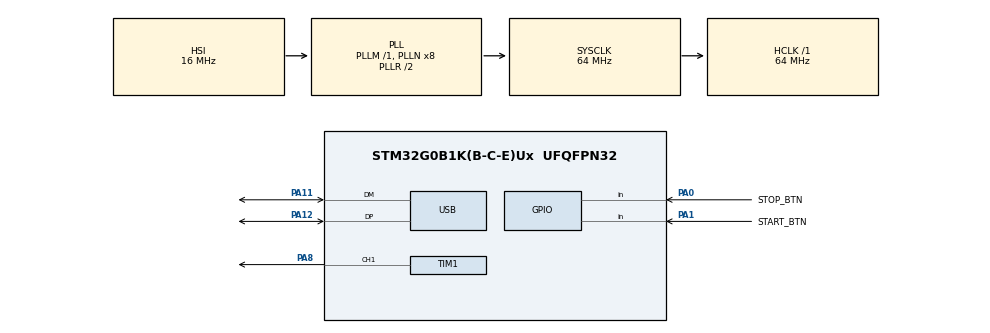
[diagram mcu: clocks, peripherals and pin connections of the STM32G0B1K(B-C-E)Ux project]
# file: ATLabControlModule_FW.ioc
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Dma.Request0=TIM1_CH1
Dma.TIM1_CH1.0.Direction=DMA_MEMORY_TO_PERIPH
Dma.TIM1_CH1.0.EventEnable=DISABLE
Dma.TIM1_CH1.0.Instance=DMA1_Channel1
Dma.TIM1_CH1.0.MemDataAlignment=DMA_MDATAALIGN_HALFWORD
Dma.TIM1_CH1.0.MemInc=DMA_MINC_ENABLE
Dma.TIM1_CH1.0.Mode=DMA_NORMAL
Dma.TIM1_CH1.0.PeriphDataAlignment=DMA_PDATAALIGN_HALFWORD
Dma.TIM1_CH1.0.PeriphInc=DMA_PINC_DISABLE
Dma.TIM1_CH1.0.Polarity=HAL_DMAMUX_REQ_GEN_RISING
Dma.TIM1_CH1.0.Priority=DMA_PRIORITY_LOW
Dma.TIM1_CH1.0.RequestNumber=1
Dma.TIM1_CH1.0.SignalID=NONE
Dma.TIM1_CH1.0.SyncEnable=DISABLE
Dma.TIM1_CH1.0.SyncPolarity=HAL_DMAMUX_SYNC_NO_EVENT
Dma.TIM1_CH1.0.SyncRequestNumber=1
Dma.TIM1_CH1.0.SyncSignalID=NONE
Mcu.Family=STM32G0
Mcu.Name=STM32G0B1K(B-C-E)Ux
Mcu.Package=UFQFPN32
NVIC.DMA1_Channel1_IRQn=true\:0\:0\:false\:false\:true\:false\:true\:true
NVIC.USB_UCPD1_2_IRQn=true\:0\:0\:false\:false\:true\:true\:true\:true
PA0.GPIO_Label=STOP_BTN
PA0.GPIO_PuPd=GPIO_PULLUP
PA0.Signal=GPIO_Input
PA1.GPIO_Label=START_BTN
PA1.GPIO_PuPd=GPIO_PULLUP
PA1.Signal=GPIO_Input
PA11\ [PA9].Mode=Device
PA11\ [PA9].Signal=USB_DM
PA12\ [PA10].Mode=Device
PA12\ [PA10].Signal=USB_DP
PA13.Mode=Serial_Wire
PA13.Signal=SYS_SWDIO
PA14-BOOT0.Mode=Serial_Wire
PA14-BOOT0.Signal=SYS_SWCLK
PA8.GPIO_Speed=GPIO_SPEED_FREQ_VERY_HIGH
PA8.Signal=S_TIM1_CH1
ProjectManager.HeapSize=0x200
ProjectManager.StackSize=0x400
ProjectManager.TargetToolchain=STM32CubeIDE
RCC.ADCFreq_Value=64000000
RCC.AHBFreq_Value=64000000
RCC.CortexFreq_Value=64000000
RCC.EXTERNAL_CLOCK_VALUE=48000
RCC.HCLKFreq_Value=64000000
RCC.HSE_VALUE=8000000
RCC.HSI48_VALUE=48000000
RCC.HSI_VALUE=16000000
RCC.LSE_VALUE=32768
RCC.SYSCLKFreq_VALUE=64000000
RCC.SYSCLKSource=RCC_SYSCLKSOURCE_PLLCLK
RCC.TIM1CLockSelectionVirtual=RCC_TIM1CLKSOURCE_PLL
RCC.USBFreq_Value=48000000
RCC.VCOOutputFreq_Value=128000000
SH.S_TIM1_CH1.0=TIM1_CH1,PWM Generation1 CH1
TIM1.AutoReloadPreload=TIM_AUTORELOAD_PRELOAD_ENABLE
TIM1.Channel-PWM\ Generation1\ CH1=TIM_CHANNEL_1
TIM1.Period=79
VP_SYS_VS_DBSignals.Mode=DisableDeadBatterySignals
VP_TIM1_VS_ClockSourceINT.Mode=Internal
board=custom

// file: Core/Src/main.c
/* USER CODE BEGIN Header */
/**
  ******************************************************************************
  * @file           : main.c
  * @brief          : Main program body
  ******************************************************************************
  * @attention
  *
  * Copyright (c) 2026 STMicroelectronics.
  * All rights reserved.
  *
  * This software is licensed under terms that can be found in the LICENSE file
  * in the root directory of this software component.
  * If no LICENSE file comes with this software, it is provided AS-IS.
  *
  ******************************************************************************
  */
/* USER CODE END Header */
#include "main.h"

/* USER CODE BEGIN Includes */
#include "tusb.h"
#include "led_driver.h"
#include "led_animation.h"
#include "button.h"
/* USER CODE END Includes */

TIM_HandleTypeDef htim1;
DMA_HandleTypeDef hdma_tim1_ch1;

PCD_HandleTypeDef hpcd_USB_DRD_FS;

void SystemClock_Config(void);
static void MX_GPIO_Init(void);
static void MX_DMA_Init(void);
static void MX_USB_DRD_FS_PCD_Init(void);
static void MX_TIM1_Init(void);
/* USER CODE BEGIN PFP */

void tud_hid_set_report_cb(uint8_t instance,
                           uint8_t report_id,
                           hid_report_type_t report_type,
                           uint8_t const* buffer,
                           uint16_t bufsize);

uint16_t tud_hid_get_report_cb(uint8_t instance,
                               uint8_t report_id,
                               hid_report_type_t report_type,
                               uint8_t* buffer,
                               uint16_t reqlen);

/* USER CODE END PFP */

int main(void)
{

  /* MCU Configuration--------------------------------------------------------*/

  /* Reset of all peripherals, Initializes the Flash interface and the Systick. */
  HAL_Init();

  /* Configure the system clock */
  SystemClock_Config();

  /* Initialize all configured peripherals */
  MX_GPIO_Init();
  MX_DMA_Init();
  MX_USB_DRD_FS_PCD_Init();
  MX_TIM1_Init();
  /* USER CODE BEGIN 2 */
  tusb_rhport_init_t dev_init = {
		  .role = TUSB_ROLE_DEVICE,
		  .speed = TUSB_SPEED_FULL
  };
  tusb_init(0, &dev_init);

  led_driver_init();
  led_animation_init();
  button_init();
  /* USER CODE END 2 */

  /* Infinite loop */
  while (1)
  {

    /* USER CODE BEGIN 3 */
	  tud_task();
	  led_animation_task();
	  led_driver_task();
	  button_task();
  }
  /* USER CODE END 3 */
}

void SystemClock_Config(void)
{
  RCC_OscInitTypeDef RCC_OscInitStruct = {0};
  RCC_ClkInitTypeDef RCC_ClkInitStruct = {0};

  /** Configure the main internal regulator output voltage
  */
  HAL_PWREx_ControlVoltageScaling(PWR_REGULATOR_VOLTAGE_SCALE1);

  /** Initializes the RCC Oscillators according to the specified parameters
  * in the RCC_OscInitTypeDef structure.
  */
  RCC_OscInitStruct.OscillatorType = RCC_OSCILLATORTYPE_HSI|RCC_OSCILLATORTYPE_HSI48;
  RCC_OscInitStruct.HSIState = RCC_HSI_ON;
  RCC_OscInitStruct.HSI48State = RCC_HSI48_ON;
  RCC_OscInitStruct.HSIDiv = RCC_HSI_DIV1;
  RCC_OscInitStruct.HSICalibrationValue = RCC_HSICALIBRATION_DEFAULT;
  RCC_OscInitStruct.PLL.PLLState = RCC_PLL_ON;
  RCC_OscInitStruct.PLL.PLLSource = RCC_PLLSOURCE_HSI;
  RCC_OscInitStruct.PLL.PLLM = RCC_PLLM_DIV1;
  RCC_OscInitStruct.PLL.PLLN = 8;
  RCC_OscInitStruct.PLL.PLLP = RCC_PLLP_DIV2;
  RCC_OscInitStruct.PLL.PLLQ = RCC_PLLQ_DIV2;
  RCC_OscInitStruct.PLL.PLLR = RCC_PLLR_DIV2;
  if (HAL_RCC_OscConfig(&RCC_OscInitStruct) != HAL_OK)
  {
    Error_Handler();
  }

  /** Initializes the CPU, AHB and APB buses clocks
  */
  RCC_ClkInitStruct.ClockType = RCC_CLOCKTYPE_HCLK|RCC_CLOCKTYPE_SYSCLK
                              |RCC_CLOCKTYPE_PCLK1;
  RCC_ClkInitStruct.SYSCLKSource = RCC_SYSCLKSOURCE_PLLCLK;
  RCC_ClkInitStruct.AHBCLKDivider = RCC_SYSCLK_DIV1;
  RCC_ClkInitStruct.APB1CLKDivider = RCC_HCLK_DIV1;

  if (HAL_RCC_ClockConfig(&RCC_ClkInitStruct, FLASH_LATENCY_2) != HAL_OK)
  {
    Error_Handler();
  }
}

static void MX_TIM1_Init(void)
{

  TIM_ClockConfigTypeDef sClockSourceConfig = {0};
  TIM_MasterConfigTypeDef sMasterConfig = {0};
  TIM_OC_InitTypeDef sConfigOC = {0};
  TIM_BreakDeadTimeConfigTypeDef sBreakDeadTimeConfig = {0};

  htim1.Instance = TIM1;
  htim1.Init.Prescaler = 0;
  htim1.Init.CounterMode = TIM_COUNTERMODE_UP;
  htim1.Init.Period = 79;
  htim1.Init.ClockDivision = TIM_CLOCKDIVISION_DIV1;
  htim1.Init.RepetitionCounter = 0;
  htim1.Init.AutoReloadPreload = TIM_AUTORELOAD_PRELOAD_ENABLE;
  if (HAL_TIM_Base_Init(&htim1) != HAL_OK)
  {
    Error_Handler();
  }
  sClockSourceConfig.ClockSource = TIM_CLOCKSOURCE_INTERNAL;
  if (HAL_TIM_ConfigClockSource(&htim1, &sClockSourceConfig) != HAL_OK)
  {
    Error_Handler();
  }
  if (HAL_TIM_PWM_Init(&htim1) != HAL_OK)
  {
    Error_Handler();
  }
  sMasterConfig.MasterOutputTrigger = TIM_TRGO_RESET;
  sMasterConfig.MasterOutputTrigger2 = TIM_TRGO2_RESET;
  sMasterConfig.MasterSlaveMode = TIM_MASTERSLAVEMODE_DISABLE;
  if (HAL_TIMEx_MasterConfigSynchronization(&htim1, &sMasterConfig) != HAL_OK)
  {
    Error_Handler();
  }
  sConfigOC.OCMode = TIM_OCMODE_PWM1;
  sConfigOC.Pulse = 0;
  sConfigOC.OCPolarity = TIM_OCPOLARITY_HIGH;
  sConfigOC.OCNPolarity = TIM_OCNPOLARITY_HIGH;
  sConfigOC.OCFastMode = TIM_OCFAST_DISABLE;
  sConfigOC.OCIdleState = TIM_OCIDLESTATE_RESET;
  sConfigOC.OCNIdleState = TIM_OCNIDLESTATE_RESET;
  if (HAL_TIM_PWM_ConfigChannel(&htim1, &sConfigOC, TIM_CHANNEL_1) != HAL_OK)
  {
    Error_Handler();
  }
  sBreakDeadTimeConfig.OffStateRunMode = TIM_OSSR_DISABLE;
  sBreakDeadTimeConfig.OffStateIDLEMode = TIM_OSSI_DISABLE;
  sBreakDeadTimeConfig.LockLevel = TIM_LOCKLEVEL_OFF;
  sBreakDeadTimeConfig.DeadTime = 0;
  sBreakDeadTimeConfig.BreakState = TIM_BREAK_DISABLE;
  sBreakDeadTimeConfig.BreakPolarity = TIM_BREAKPOLARITY_HIGH;
  sBreakDeadTimeConfig.BreakFilter = 0;
  sBreakDeadTimeConfig.BreakAFMode = TIM_BREAK_AFMODE_INPUT;
  sBreakDeadTimeConfig.Break2State = TIM_BREAK2_DISABLE;
  sBreakDeadTimeConfig.Break2Polarity = TIM_BREAK2POLARITY_HIGH;
  sBreakDeadTimeConfig.Break2Filter = 0;
  sBreakDeadTimeConfig.Break2AFMode = TIM_BREAK_AFMODE_INPUT;
  sBreakDeadTimeConfig.AutomaticOutput = TIM_AUTOMATICOUTPUT_DISABLE;
  if (HAL_TIMEx_ConfigBreakDeadTime(&htim1, &sBreakDeadTimeConfig) != HAL_OK)
  {
    Error_Handler();
  }
  HAL_TIM_MspPostInit(&htim1);

}

static void MX_USB_DRD_FS_PCD_Init(void)
{

  hpcd_USB_DRD_FS.Instance = USB_DRD_FS;
  hpcd_USB_DRD_FS.Init.dev_endpoints = 8;
  hpcd_USB_DRD_FS.Init.Host_channels = 8;
  hpcd_USB_DRD_FS.Init.speed = PCD_SPEED_FULL;
  hpcd_USB_DRD_FS.Init.phy_itface = PCD_PHY_EMBEDDED;
  hpcd_USB_DRD_FS.Init.Sof_enable = DISABLE;
  hpcd_USB_DRD_FS.Init.low_power_enable = DISABLE;
  hpcd_USB_DRD_FS.Init.lpm_enable = DISABLE;
  hpcd_USB_DRD_FS.Init.battery_charging_enable = DISABLE;
  hpcd_USB_DRD_FS.Init.vbus_sensing_enable = DISABLE;
  hpcd_USB_DRD_FS.Init.bulk_doublebuffer_enable = DISABLE;
  hpcd_USB_DRD_FS.Init.iso_singlebuffer_enable = DISABLE;
  if (HAL_PCD_Init(&hpcd_USB_DRD_FS) != HAL_OK)
  {
    Error_Handler();
  }

}

static void MX_DMA_Init(void)
{

  /* DMA controller clock enable */
  __HAL_RCC_DMA1_CLK_ENABLE();

  /* DMA interrupt init */
  /* DMA1_Channel1_IRQn interrupt configuration */
  HAL_NVIC_SetPriority(DMA1_Channel1_IRQn, 0, 0);
  HAL_NVIC_EnableIRQ(DMA1_Channel1_IRQn);

}

static void MX_GPIO_Init(void)
{
  GPIO_InitTypeDef GPIO_InitStruct = {0};

  /* GPIO Ports Clock Enable */
  __HAL_RCC_GPIOA_CLK_ENABLE();

  /*Configure GPIO pins : STOP_BTN_Pin START_BTN_Pin */
  GPIO_InitStruct.Pin = STOP_BTN_Pin|START_BTN_Pin;
  GPIO_InitStruct.Mode = GPIO_MODE_INPUT;
  GPIO_InitStruct.Pull = GPIO_PULLUP;
  HAL_GPIO_Init(GPIOA, &GPIO_InitStruct);

}

/* USER CODE BEGIN 4 */

void tud_hid_set_report_cb(uint8_t instance,
                           uint8_t report_id,
                           hid_report_type_t report_type,
                           uint8_t const* buffer,
                           uint16_t bufsize)
{
	(void) instance;
  (void) report_id;
  (void) report_type;

	if (buffer[0] != 2)
		return;

	if (bufsize < 2)
		return;

	led_group_t group = buffer[1];
	led_mode_t mode = buffer[2];

	led_animation_set_mode(group, mode);
}

uint16_t tud_hid_get_report_cb(uint8_t instance,
                               uint8_t report_id,
                               hid_report_type_t report_type,
                               uint8_t* buffer,
                               uint16_t reqlen)
{
  (void) instance;
  (void) report_id;
  (void) report_type;
  (void) buffer;
  (void) reqlen;

  return 0;
}

/* USER CODE END 4 */

void Error_Handler(void)
{
  __disable_irq();
  while (1)
  {
  }
}
